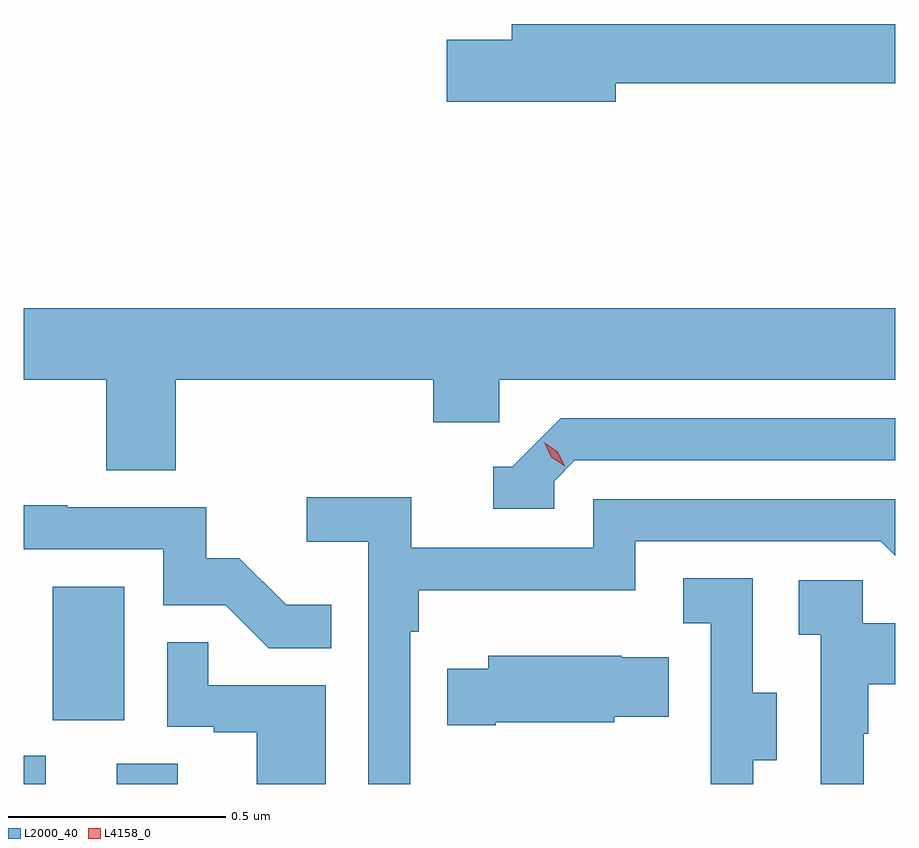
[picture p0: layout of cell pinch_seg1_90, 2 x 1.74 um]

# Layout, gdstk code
import gdstk
lib = gdstk.Library(unit=1e-6, precision=1e-09)
def R(c, l, rs):  # rectangles x0, y0, x1, y1
    for r in rs: c.add(gdstk.rectangle(r[:2], r[2:], *l))
def P(c, l, *ps):  # polygons
    for p in ps: c.add(gdstk.Polygon(p, *l))
L2000_40 = (2000, 40)
L4158_0 = (4158, 0)

pinch_seg1_90 = lib.new_cell('pinch_seg1_90')
R(pinch_seg1_90, L2000_40, [(1016.623,580.108,1016.674,580.173), (1016.837,580.108,1016.977,580.154), (1016.69,580.254,1016.854,580.561)])
P(pinch_seg1_90, L2000_40, [(1017.982,581.716),(1018.623,581.716),(1018.623,581.852),(1017.743,581.852),(1017.743,581.816),(1017.594,581.816),(1017.594,581.674),(1017.982,581.674)],
  [(1016.972,581.036),(1017.563,581.036),(1017.563,580.938),(1017.714,580.938),(1017.714,581.036),(1018.623,581.036),(1018.623,581.2),(1016.623,581.2),(1016.623,581.036),(1016.812,581.036),(1016.812,580.828),(1016.972,580.828)],
  [(1017.84,580.803),(1017.888,580.851),(1018.623,580.851),(1018.623,580.947),(1017.855,580.947),(1017.744,580.836),(1017.701,580.836),(1017.701,580.74),(1017.84,580.74)],
  [(1017.51,580.457),(1017.53,580.457),(1017.53,580.553),(1018.026,580.553),(1018.026,580.665),(1018.59,580.665),(1018.623,580.632),(1018.623,580.761),(1017.93,580.761),(1017.93,580.65),(1017.512,580.65),(1017.512,580.766),(1017.273,580.766),(1017.273,580.664),(1017.414,580.664),(1017.414,580.108),(1017.51,580.108)],
  [(1017.329,580.519),(1017.225,580.519),(1017.118,580.626),(1017.042,580.626),(1017.042,580.743),(1016.723,580.743),(1016.723,580.748),(1016.623,580.748),(1016.623,580.647),(1016.943,580.647),(1016.943,580.518),(1017.087,580.518),(1017.185,580.42),(1017.329,580.42)],
  [(1018.297,580.162),(1018.351,580.162),(1018.351,580.317),(1018.296,580.317),(1018.296,580.58),(1018.137,580.58),(1018.137,580.477),(1018.2,580.477),(1018.2,580.173),(1018.199,580.173),(1018.199,580.108),(1018.297,580.108)],
  [(1018.551,580.223),(1018.561,580.223),(1018.561,580.337),(1018.623,580.337),(1018.623,580.477),(1018.548,580.477),(1018.548,580.575),(1018.401,580.575),(1018.401,580.451),(1018.452,580.451),(1018.452,580.108),(1018.551,580.108)],
  [(1017.316,580.335),(1017.047,580.335),(1017.047,580.433),(1016.952,580.433),(1016.952,580.239),(1017.059,580.239),(1017.059,580.227),(1017.158,580.227),(1017.158,580.108),(1017.316,580.108)],
  [(1017.706,580.25),(1017.978,580.25),(1017.978,580.262),(1018.103,580.262),(1018.103,580.399),(1017.995,580.399),(1017.995,580.402),(1017.689,580.402),(1017.689,580.372),(1017.595,580.372),(1017.595,580.243),(1017.706,580.243)])
P(pinch_seg1_90, L4158_0, [(1017.864,580.837),(1017.834,580.858),(1017.819,580.89),(1017.819,580.891),(1017.819,580.891),(1017.849,580.87),(1017.864,580.838),(1017.864,580.837)])

lib.write_gds('pinch_seg1_90.gds')
